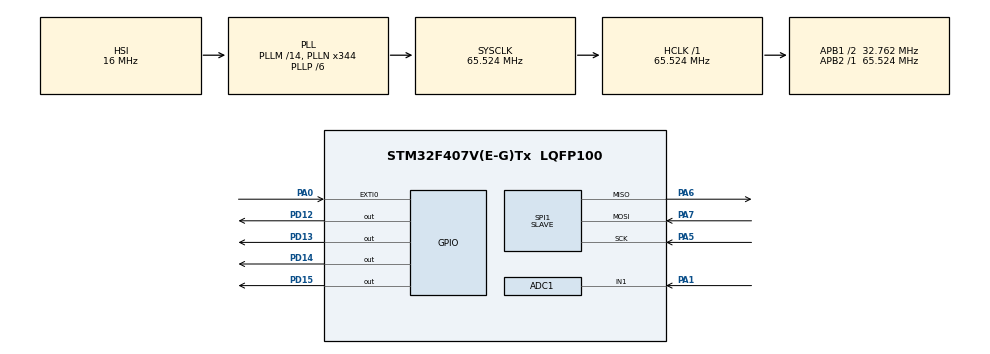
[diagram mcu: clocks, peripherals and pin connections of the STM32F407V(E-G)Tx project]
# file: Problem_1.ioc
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ADC1.Channel-1\#ChannelRegularConversion=ADC_CHANNEL_1
ADC1.DMAContinuousRequests=ENABLE
ADC1.InjNumberOfConversion=0
ADC1.NbrOfConversionFlag=1
ADC1.Rank-1\#ChannelRegularConversion=1
ADC1.SamplingTime-1\#ChannelRegularConversion=ADC_SAMPLETIME_3CYCLES
ADC1.master=1
Dma.ADC1.0.Direction=DMA_PERIPH_TO_MEMORY
Dma.ADC1.0.FIFOMode=DMA_FIFOMODE_DISABLE
Dma.ADC1.0.Instance=DMA2_Stream0
Dma.ADC1.0.MemDataAlignment=DMA_MDATAALIGN_WORD
Dma.ADC1.0.MemInc=DMA_MINC_ENABLE
Dma.ADC1.0.Mode=DMA_NORMAL
Dma.ADC1.0.PeriphDataAlignment=DMA_PDATAALIGN_WORD
Dma.ADC1.0.PeriphInc=DMA_PINC_DISABLE
Dma.ADC1.0.Priority=DMA_PRIORITY_LOW
Dma.Request0=ADC1
Mcu.Family=STM32F4
Mcu.Name=STM32F407V(E-G)Tx
Mcu.Package=LQFP100
NVIC.DMA2_Stream0_IRQn=true\:0\:0\:false\:false\:true\:false\:true\:true
NVIC.EXTI0_IRQn=true\:0\:0\:false\:false\:true\:true\:true\:true
NVIC.PriorityGroup=NVIC_PRIORITYGROUP_0
PA0-WKUP.GPIO_PuPd=GPIO_PULLDOWN
PA0-WKUP.Signal=GPXTI0
PA1.Signal=ADCx_IN1
PA5.Mode=Full_Duplex_Slave
PA5.Signal=SPI1_SCK
PA6.Mode=Full_Duplex_Slave
PA6.Signal=SPI1_MISO
PA7.Mode=Full_Duplex_Slave
PA7.Signal=SPI1_MOSI
PD12.Signal=GPIO_Output
PD13.Signal=GPIO_Output
PD14.Signal=GPIO_Output
PD15.Signal=GPIO_Output
ProjectManager.HeapSize=0x200
ProjectManager.StackSize=0x400
ProjectManager.TargetToolchain=STM32CubeIDE
RCC.48MHZClocksFreq_Value=56163265.30612246
RCC.AHBFreq_Value=65523809.52380953
RCC.APB1CLKDivider=RCC_HCLK_DIV2
RCC.APB1Freq_Value=32761904.761904765
RCC.APB1TimFreq_Value=65523809.52380953
RCC.APB2Freq_Value=65523809.52380953
RCC.APB2TimFreq_Value=65523809.52380953
RCC.CortexFreq_Value=65523809.52380953
RCC.HCLKFreq_Value=65523809.52380953
RCC.HSE_VALUE=8000000
RCC.HSI_VALUE=16000000
RCC.LSE_VALUE=32768
RCC.PLLM=14
RCC.PLLN=344
RCC.PLLP=RCC_PLLP_DIV6
RCC.PLLQ=7
RCC.SYSCLKFreq_VALUE=65523809.52380953
RCC.SYSCLKSource=RCC_SYSCLKSOURCE_PLLCLK
RCC.VCOOutputFreq_Value=393142857.1428572
SH.ADCx_IN1.0=ADC1_IN1,IN1
SPI1.Direction=SPI_DIRECTION_2LINES
SPI1.Mode=SPI_MODE_SLAVE
SPI1.VirtualType=VM_SLAVE
board=STM32F407G-DISC1

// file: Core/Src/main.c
/* USER CODE BEGIN Header */
/**
  ******************************************************************************
  * @file           : main.c
  * @brief          : Main program body
  ******************************************************************************
  * @attention
  *
  * Copyright (c) 2024 STMicroelectronics.
  * All rights reserved.
  *
  * This software is licensed under terms that can be found in the LICENSE file
  * in the root directory of this software component.
  * If no LICENSE file comes with this software, it is provided AS-IS.
  *
  ******************************************************************************
  */
/* USER CODE END Header */
#include "main.h"

ADC_HandleTypeDef hadc1;
DMA_HandleTypeDef hdma_adc1;

SPI_HandleTypeDef hspi1;

/* USER CODE BEGIN PV */
uint32_t buffer, adc_val;
/* USER CODE END PV */

void SystemClock_Config(void);
static void MX_GPIO_Init(void);
static void MX_DMA_Init(void);
static void MX_ADC1_Init(void);
static void MX_SPI1_Init(void);

/* USER CODE BEGIN 0 */
//#define   RCC_AHB1ENR     (uint32_t*) 0x40023830
//
////GPIOA REGISTERS (Led)
//#define   GPIOD_MODER	  (uint32_t*) 0x40020000
//#define   GPIOD_OTYPER	  (uint32_t*) 0x40020004
//#define   GPIOD_OSPEEDR	  (uint32_t*) 0x40020008
//#define   GPIOD_PUPDR	  (uint32_t*) 0x4002000C
//#define   GPIOD_BSRR	  (uint32_t*) 0x40020018
#define     Threshold_1    16000
#define     Threshold_2    32000
#define     Threshold_3    48000

void EXTI0_IRQHandler(void)
{
	HAL_ADC_Start_DMA (&hadc1, &buffer, 1);
	__HAL_GPIO_EXTI_CLEAR_IT(GPIO_PIN_0);

}

void HAL_ADC_ConvCpltCallback(ADC_HandleTypeDef* hadc)
{

	adc_val = buffer*16;

	HAL_ADC_Stop(&hadc1);
    if(adc_val<Threshold_1)
    	 {HAL_GPIO_WritePin(GPIOD, GPIO_PIN_13|GPIO_PIN_14|GPIO_PIN_15, GPIO_PIN_RESET);
         HAL_GPIO_WritePin(GPIOD,GPIO_PIN_12, GPIO_PIN_SET);}
    else if(adc_val<Threshold_2)
	 {HAL_GPIO_WritePin(GPIOD, GPIO_PIN_12|GPIO_PIN_14|GPIO_PIN_15, GPIO_PIN_RESET);
    HAL_GPIO_WritePin(GPIOD,GPIO_PIN_13, GPIO_PIN_SET);}
    else if(adc_val<Threshold_3)
    	 {HAL_GPIO_WritePin(GPIOD, GPIO_PIN_12|GPIO_PIN_13|GPIO_PIN_15, GPIO_PIN_RESET);
        HAL_GPIO_WritePin(GPIOD,GPIO_PIN_14, GPIO_PIN_SET);}
    else
    {HAL_GPIO_WritePin(GPIOD, GPIO_PIN_12|GPIO_PIN_13|GPIO_PIN_14, GPIO_PIN_RESET);
            HAL_GPIO_WritePin(GPIOD,GPIO_PIN_15, GPIO_PIN_SET);}

}
/* USER CODE END 0 */

int main(void)
{

  /* MCU Configuration--------------------------------------------------------*/

  /* Reset of all peripherals, Initializes the Flash interface and the Systick. */
  HAL_Init();

  /* Configure the system clock */
  SystemClock_Config();

  /* Initialize all configured peripherals */
  MX_GPIO_Init();
  MX_DMA_Init();
  MX_ADC1_Init();
  MX_SPI1_Init();

  /* Infinite loop */
  while (1)
  {

  }
}

void SystemClock_Config(void)
{
  RCC_OscInitTypeDef RCC_OscInitStruct = {0};
  RCC_ClkInitTypeDef RCC_ClkInitStruct = {0};

  /** Configure the main internal regulator output voltage
  */
  __HAL_RCC_PWR_CLK_ENABLE();
  __HAL_PWR_VOLTAGESCALING_CONFIG(PWR_REGULATOR_VOLTAGE_SCALE1);

  /** Initializes the RCC Oscillators according to the specified parameters
  * in the RCC_OscInitTypeDef structure.
  */
  RCC_OscInitStruct.OscillatorType = RCC_OSCILLATORTYPE_HSI;
  RCC_OscInitStruct.HSIState = RCC_HSI_ON;
  RCC_OscInitStruct.HSICalibrationValue = RCC_HSICALIBRATION_DEFAULT;
  RCC_OscInitStruct.PLL.PLLState = RCC_PLL_ON;
  RCC_OscInitStruct.PLL.PLLSource = RCC_PLLSOURCE_HSI;
  RCC_OscInitStruct.PLL.PLLM = 14;
  RCC_OscInitStruct.PLL.PLLN = 344;
  RCC_OscInitStruct.PLL.PLLP = RCC_PLLP_DIV6;
  RCC_OscInitStruct.PLL.PLLQ = 7;
  if (HAL_RCC_OscConfig(&RCC_OscInitStruct) != HAL_OK)
  {
    Error_Handler();
  }

  /** Initializes the CPU, AHB and APB buses clocks
  */
  RCC_ClkInitStruct.ClockType = RCC_CLOCKTYPE_HCLK|RCC_CLOCKTYPE_SYSCLK
                              |RCC_CLOCKTYPE_PCLK1|RCC_CLOCKTYPE_PCLK2;
  RCC_ClkInitStruct.SYSCLKSource = RCC_SYSCLKSOURCE_PLLCLK;
  RCC_ClkInitStruct.AHBCLKDivider = RCC_SYSCLK_DIV1;
  RCC_ClkInitStruct.APB1CLKDivider = RCC_HCLK_DIV2;
  RCC_ClkInitStruct.APB2CLKDivider = RCC_HCLK_DIV1;

  if (HAL_RCC_ClockConfig(&RCC_ClkInitStruct, FLASH_LATENCY_2) != HAL_OK)
  {
    Error_Handler();
  }
}

static void MX_ADC1_Init(void)
{

  ADC_ChannelConfTypeDef sConfig = {0};

  /** Configure the global features of the ADC (Clock, Resolution, Data Alignment and number of conversion)
  */
  hadc1.Instance = ADC1;
  hadc1.Init.ClockPrescaler = ADC_CLOCK_SYNC_PCLK_DIV2;
  hadc1.Init.Resolution = ADC_RESOLUTION_12B;
  hadc1.Init.ScanConvMode = DISABLE;
  hadc1.Init.ContinuousConvMode = DISABLE;
  hadc1.Init.DiscontinuousConvMode = DISABLE;
  hadc1.Init.ExternalTrigConvEdge = ADC_EXTERNALTRIGCONVEDGE_NONE;
  hadc1.Init.ExternalTrigConv = ADC_SOFTWARE_START;
  hadc1.Init.DataAlign = ADC_DATAALIGN_RIGHT;
  hadc1.Init.NbrOfConversion = 1;
  hadc1.Init.DMAContinuousRequests = ENABLE;
  hadc1.Init.EOCSelection = ADC_EOC_SINGLE_CONV;
  if (HAL_ADC_Init(&hadc1) != HAL_OK)
  {
    Error_Handler();
  }

  /** Configure for the selected ADC regular channel its corresponding rank in the sequencer and its sample time.
  */
  sConfig.Channel = ADC_CHANNEL_1;
  sConfig.Rank = 1;
  sConfig.SamplingTime = ADC_SAMPLETIME_3CYCLES;
  if (HAL_ADC_ConfigChannel(&hadc1, &sConfig) != HAL_OK)
  {
    Error_Handler();
  }

}

static void MX_SPI1_Init(void)
{

  /* SPI1 parameter configuration*/
  hspi1.Instance = SPI1;
  hspi1.Init.Mode = SPI_MODE_SLAVE;
  hspi1.Init.Direction = SPI_DIRECTION_2LINES;
  hspi1.Init.DataSize = SPI_DATASIZE_8BIT;
  hspi1.Init.CLKPolarity = SPI_POLARITY_LOW;
  hspi1.Init.CLKPhase = SPI_PHASE_1EDGE;
  hspi1.Init.NSS = SPI_NSS_SOFT;
  hspi1.Init.FirstBit = SPI_FIRSTBIT_MSB;
  hspi1.Init.TIMode = SPI_TIMODE_DISABLE;
  hspi1.Init.CRCCalculation = SPI_CRCCALCULATION_DISABLE;
  hspi1.Init.CRCPolynomial = 10;
  if (HAL_SPI_Init(&hspi1) != HAL_OK)
  {
    Error_Handler();
  }

}

static void MX_DMA_Init(void)
{

  /* DMA controller clock enable */
  __HAL_RCC_DMA2_CLK_ENABLE();

  /* DMA interrupt init */
  /* DMA2_Stream0_IRQn interrupt configuration */
  HAL_NVIC_SetPriority(DMA2_Stream0_IRQn, 0, 0);
  HAL_NVIC_EnableIRQ(DMA2_Stream0_IRQn);

}

static void MX_GPIO_Init(void)
{
  GPIO_InitTypeDef GPIO_InitStruct = {0};

  /* GPIO Ports Clock Enable */
  __HAL_RCC_GPIOA_CLK_ENABLE();
  __HAL_RCC_GPIOD_CLK_ENABLE();

  /*Configure GPIO pin Output Level */
  HAL_GPIO_WritePin(GPIOD, GPIO_PIN_12|GPIO_PIN_13|GPIO_PIN_14|GPIO_PIN_15, GPIO_PIN_RESET);

  /*Configure GPIO pin : PA0 */
  GPIO_InitStruct.Pin = GPIO_PIN_0;
  GPIO_InitStruct.Mode = GPIO_MODE_IT_RISING;
  GPIO_InitStruct.Pull = GPIO_PULLDOWN;
  HAL_GPIO_Init(GPIOA, &GPIO_InitStruct);

  /*Configure GPIO pins : PD12 PD13 PD14 PD15 */
  GPIO_InitStruct.Pin = GPIO_PIN_12|GPIO_PIN_13|GPIO_PIN_14|GPIO_PIN_15;
  GPIO_InitStruct.Mode = GPIO_MODE_OUTPUT_PP;
  GPIO_InitStruct.Pull = GPIO_NOPULL;
  GPIO_InitStruct.Speed = GPIO_SPEED_FREQ_LOW;
  HAL_GPIO_Init(GPIOD, &GPIO_InitStruct);

  /* EXTI interrupt init*/
  HAL_NVIC_SetPriority(EXTI0_IRQn, 0, 0);
  HAL_NVIC_EnableIRQ(EXTI0_IRQn);

}

void Error_Handler(void)
{
  __disable_irq();
  while (1)
  {
  }
}
